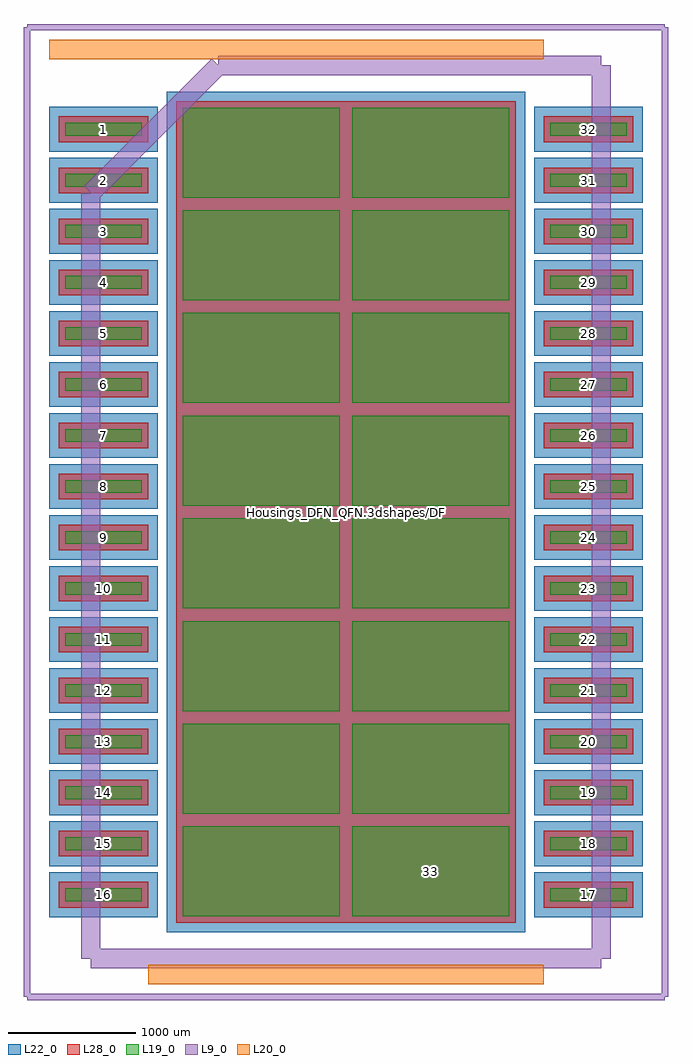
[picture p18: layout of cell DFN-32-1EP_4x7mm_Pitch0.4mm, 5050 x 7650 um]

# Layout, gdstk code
import gdstk
lib = gdstk.Library(unit=1e-6, precision=1e-09)
def R(c, l, rs):  # rectangles x0, y0, x1, y1
    for r in rs: c.add(gdstk.rectangle(r[:2], r[2:], *l))
def A(c, l, x, y, w, h, nx, ny, dx, dy):  # array of equal rectangles
    R(c, l, [(x+i*dx, y+j*dy, x+i*dx+w, y+j*dy+h) for i in range(nx) for j in range(ny)])
L9_0 = (9, 0)
L19_0 = (19, 0)
L20_0 = (20, 0)
L22_0 = (22, 0)
L28_0 = (28, 0)

dfn_32_1ep_4x7mm_pitch0_ = lib.new_cell('DFN-32-1EP_4x7mm_Pitch0.4mm')
A(dfn_32_1ep_4x7mm_pitch0_, L19_0, -1280, -3170, 1230, 705, 1, 8, 0, 805)
A(dfn_32_1ep_4x7mm_pitch0_, L19_0, 50, -3170, 1230, 705, 1, 8, 0, 805)
A(dfn_32_1ep_4x7mm_pitch0_, L19_0, -2200, -3050, 600, 100, 1, 16, 0, 400)
A(dfn_32_1ep_4x7mm_pitch0_, L19_0, 1600, -3050, 600, 100, 1, 16, 0, 400)
A(dfn_32_1ep_4x7mm_pitch0_, L22_0, -1405, -3295, 1480, 955, 1, 8, 0, 805)
A(dfn_32_1ep_4x7mm_pitch0_, L22_0, -75, -3295, 1480, 955, 1, 8, 0, 805)
A(dfn_32_1ep_4x7mm_pitch0_, L22_0, -2325, -3175, 850, 350, 1, 16, 0, 400)
A(dfn_32_1ep_4x7mm_pitch0_, L22_0, 1475, -3175, 850, 350, 1, 16, 0, 400)
A(dfn_32_1ep_4x7mm_pitch0_, L28_0, -1330, -3220, 1330, 805, 1, 8, 0, 805)
A(dfn_32_1ep_4x7mm_pitch0_, L28_0, 0, -3220, 1330, 805, 1, 8, 0, 805)
A(dfn_32_1ep_4x7mm_pitch0_, L28_0, -2250, -3100, 700, 200, 1, 16, 0, 400)
A(dfn_32_1ep_4x7mm_pitch0_, L28_0, 1550, -3100, 700, 200, 1, 16, 0, 400)
dfn_32_1ep_4x7mm_pitch0_.add(gdstk.FlexPath([(-2325,3625),(1550,3625)], 149.998, ends="flush", simple_path=True, layer=20, datatype=0))  # L20_0
dfn_32_1ep_4x7mm_pitch0_.add(gdstk.FlexPath([(-1550,-3625),(1550,-3625)], 149.998, ends="flush", simple_path=True, layer=20, datatype=0))  # L20_0
dfn_32_1ep_4x7mm_pitch0_.add(gdstk.FlexPath([(-2500,-3800),(2500,-3800)], 50, ends="flush", simple_path=True, layer=9, datatype=0))  # L9_0
dfn_32_1ep_4x7mm_pitch0_.add(gdstk.FlexPath([(-2500,3800),(2500,3800)], 50, ends="flush", simple_path=True, layer=9, datatype=0))  # L9_0
dfn_32_1ep_4x7mm_pitch0_.add(gdstk.FlexPath([(2500,3800),(2500,-3800)], 50, ends="flush", simple_path=True, layer=9, datatype=0))  # L9_0
dfn_32_1ep_4x7mm_pitch0_.add(gdstk.FlexPath([(-2500,3800),(-2500,-3800)], 50, ends="flush", simple_path=True, layer=9, datatype=0))  # L9_0
dfn_32_1ep_4x7mm_pitch0_.add(gdstk.FlexPath([(-2000,2500),(-1000,3500)], 149.998, ends="flush", simple_path=True, layer=9, datatype=0))  # L9_0
dfn_32_1ep_4x7mm_pitch0_.add(gdstk.FlexPath([(-2000,-3500),(-2000,2500)], 149.998, ends="flush", simple_path=True, layer=9, datatype=0))  # L9_0
dfn_32_1ep_4x7mm_pitch0_.add(gdstk.FlexPath([(2000,-3500),(-2000,-3500)], 149.998, ends="flush", simple_path=True, layer=9, datatype=0))  # L9_0
dfn_32_1ep_4x7mm_pitch0_.add(gdstk.FlexPath([(2000,3500),(2000,-3500)], 149.998, ends="flush", simple_path=True, layer=9, datatype=0))  # L9_0
dfn_32_1ep_4x7mm_pitch0_.add(gdstk.FlexPath([(-1000,3500),(2000,3500)], 149.998, ends="flush", simple_path=True, layer=9, datatype=0))  # L9_0
dfn_32_1ep_4x7mm_pitch0_.add(gdstk.Label('Housings_DFN_QFN.3dshapes/DFN-32-1EP_4x7mm_Pitch0.4mm.wrl', (0,0), layer=12, texttype=0))
dfn_32_1ep_4x7mm_pitch0_.add(gdstk.Label('33', (665,-2817.5), layer=28, texttype=0))
dfn_32_1ep_4x7mm_pitch0_.add(gdstk.Label('32', (1900,3000), layer=28, texttype=0))
dfn_32_1ep_4x7mm_pitch0_.add(gdstk.Label('31', (1900,2600), layer=28, texttype=0))
dfn_32_1ep_4x7mm_pitch0_.add(gdstk.Label('30', (1900,2200), layer=28, texttype=0))
dfn_32_1ep_4x7mm_pitch0_.add(gdstk.Label('29', (1900,1800), layer=28, texttype=0))
dfn_32_1ep_4x7mm_pitch0_.add(gdstk.Label('28', (1900,1400), layer=28, texttype=0))
dfn_32_1ep_4x7mm_pitch0_.add(gdstk.Label('27', (1900,1000), layer=28, texttype=0))
dfn_32_1ep_4x7mm_pitch0_.add(gdstk.Label('26', (1900,600), layer=28, texttype=0))
dfn_32_1ep_4x7mm_pitch0_.add(gdstk.Label('25', (1900,200), layer=28, texttype=0))
dfn_32_1ep_4x7mm_pitch0_.add(gdstk.Label('24', (1900,-200), layer=28, texttype=0))
dfn_32_1ep_4x7mm_pitch0_.add(gdstk.Label('23', (1900,-600), layer=28, texttype=0))
dfn_32_1ep_4x7mm_pitch0_.add(gdstk.Label('22', (1900,-1000), layer=28, texttype=0))
dfn_32_1ep_4x7mm_pitch0_.add(gdstk.Label('21', (1900,-1400), layer=28, texttype=0))
dfn_32_1ep_4x7mm_pitch0_.add(gdstk.Label('20', (1900,-1800), layer=28, texttype=0))
dfn_32_1ep_4x7mm_pitch0_.add(gdstk.Label('19', (1900,-2200), layer=28, texttype=0))
dfn_32_1ep_4x7mm_pitch0_.add(gdstk.Label('18', (1900,-2600), layer=28, texttype=0))
dfn_32_1ep_4x7mm_pitch0_.add(gdstk.Label('17', (1900,-3000), layer=28, texttype=0))
dfn_32_1ep_4x7mm_pitch0_.add(gdstk.Label('16', (-1900,-3000), layer=28, texttype=0))
dfn_32_1ep_4x7mm_pitch0_.add(gdstk.Label('15', (-1900,-2600), layer=28, texttype=0))
dfn_32_1ep_4x7mm_pitch0_.add(gdstk.Label('14', (-1900,-2200), layer=28, texttype=0))
dfn_32_1ep_4x7mm_pitch0_.add(gdstk.Label('13', (-1900,-1800), layer=28, texttype=0))
dfn_32_1ep_4x7mm_pitch0_.add(gdstk.Label('12', (-1900,-1400), layer=28, texttype=0))
dfn_32_1ep_4x7mm_pitch0_.add(gdstk.Label('11', (-1900,-1000), layer=28, texttype=0))
dfn_32_1ep_4x7mm_pitch0_.add(gdstk.Label('10', (-1900,-600), layer=28, texttype=0))
dfn_32_1ep_4x7mm_pitch0_.add(gdstk.Label('9', (-1900,-200), layer=28, texttype=0))
dfn_32_1ep_4x7mm_pitch0_.add(gdstk.Label('8', (-1900,200), layer=28, texttype=0))
dfn_32_1ep_4x7mm_pitch0_.add(gdstk.Label('7', (-1900,600), layer=28, texttype=0))
dfn_32_1ep_4x7mm_pitch0_.add(gdstk.Label('6', (-1900,1000), layer=28, texttype=0))
dfn_32_1ep_4x7mm_pitch0_.add(gdstk.Label('5', (-1900,1400), layer=28, texttype=0))
dfn_32_1ep_4x7mm_pitch0_.add(gdstk.Label('4', (-1900,1800), layer=28, texttype=0))
dfn_32_1ep_4x7mm_pitch0_.add(gdstk.Label('3', (-1900,2200), layer=28, texttype=0))
dfn_32_1ep_4x7mm_pitch0_.add(gdstk.Label('2', (-1900,2600), layer=28, texttype=0))
dfn_32_1ep_4x7mm_pitch0_.add(gdstk.Label('1', (-1900,3000), layer=28, texttype=0))
dfn_32_1ep_4x7mm_pitch0_.add(gdstk.Label('type', (0,-4550), layer=9, texttype=0))
dfn_32_1ep_4x7mm_pitch0_.add(gdstk.Label('devicename', (0,4550), layer=9, texttype=0))

lib.write_gds('DFN-32-1EP_4x7mm_Pitch0.4mm.gds')
